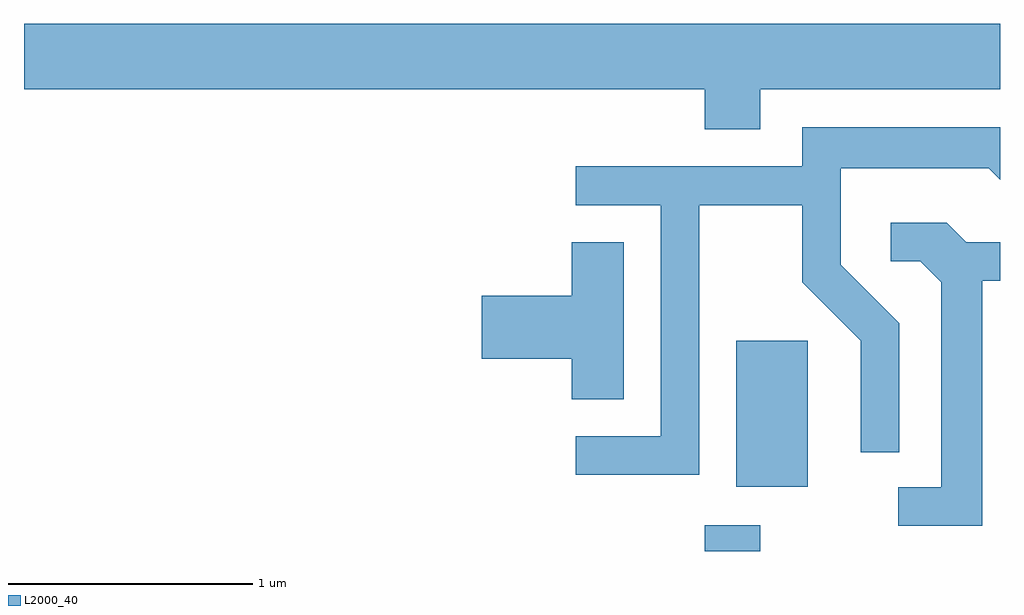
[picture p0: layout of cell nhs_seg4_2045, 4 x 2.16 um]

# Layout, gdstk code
import gdstk
lib = gdstk.Library(unit=1e-6, precision=1e-09)
def R(c, l, rs):  # rectangles x0, y0, x1, y1
    for r in rs: c.add(gdstk.rectangle(r[:2], r[2:], *l))
def P(c, l, *ps):  # polygons
    for p in ps: c.add(gdstk.Polygon(p, *l))
L2000_40 = (2000, 40)

nhs_seg4_2045 = lib.new_cell('nhs_seg4_2045')
R(nhs_seg4_2045, L2000_40, [(248.401,1263.982,248.629,1264.089), (248.531,1264.246,248.824,1264.844)])
P(nhs_seg4_2045, L2000_40, [(248.629,1265.876),(249.611,1265.876),(249.611,1266.144),(245.611,1266.144),(245.611,1265.876),(248.401,1265.876),(248.401,1265.711),(248.629,1265.711)],
  [(248.379,1265.401),(248.801,1265.401),(248.801,1265.084),(249.041,1264.844),(249.041,1264.388),(249.199,1264.388),(249.199,1264.917),(248.959,1265.157),(248.959,1265.551),(249.564,1265.551),(249.611,1265.504),(249.611,1265.719),(248.801,1265.719),(248.801,1265.559),(247.873,1265.559),(247.873,1265.401),(248.221,1265.401),(248.221,1264.454),(247.873,1264.454),(247.873,1264.296),(248.379,1264.296)],
  [(249.539,1265.091),(249.611,1265.091),(249.611,1265.249),(249.472,1265.249),(249.392,1265.329),(249.163,1265.329),(249.163,1265.171),(249.284,1265.171),(249.371,1265.084),(249.371,1264.244),(249.193,1264.244),(249.193,1264.086),(249.539,1264.086)],
  [(248.069,1265.249),(247.856,1265.249),(247.856,1265.029),(247.486,1265.029),(247.486,1264.771),(247.856,1264.771),(247.856,1264.606),(248.069,1264.606)])

lib.write_gds('nhs_seg4_2045.gds')
